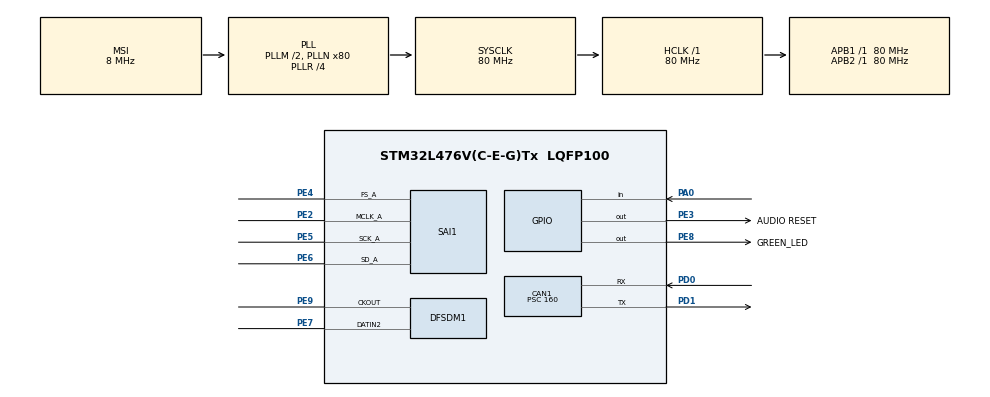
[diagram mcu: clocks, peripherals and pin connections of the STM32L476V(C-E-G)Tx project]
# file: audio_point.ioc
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CAN1.BS1=CAN_BS1_13TQ
CAN1.BS2=CAN_BS2_2TQ
CAN1.CalculateTimeQuantum=2000.0
CAN1.Mode=CAN_MODE_NORMAL
CAN1.Prescaler=160
DFSDM1.Divider=12
DFSDM1.DmaMode_reg_FIL0=ENABLE
DFSDM1.FastMode_reg_FIL0=ENABLE
DFSDM1.FilterOrder_CH2=DFSDM_CHANNEL_SINC3_ORDER
DFSDM1.Filter_regChannel_FIL0=DFSDM_CHANNEL_2
DFSDM1.Fosr_FIL0=64
DFSDM1.Iosr_FIL0=4
DFSDM1.RightBitShift_CH2=0x02
DFSDM1.Selection=DFSDM_CHANNEL_OUTPUT_CLOCK_AUDIO
DFSDM1.SincOrder_FIL0=DFSDM_FILTER_SINC3_ORDER
Dma.DFSDM1_FLT0.0.Direction=DMA_PERIPH_TO_MEMORY
Dma.DFSDM1_FLT0.0.Instance=DMA1_Channel4
Dma.DFSDM1_FLT0.0.MemDataAlignment=DMA_MDATAALIGN_WORD
Dma.DFSDM1_FLT0.0.MemInc=DMA_MINC_ENABLE
Dma.DFSDM1_FLT0.0.Mode=DMA_CIRCULAR
Dma.DFSDM1_FLT0.0.PeriphDataAlignment=DMA_PDATAALIGN_WORD
Dma.DFSDM1_FLT0.0.PeriphInc=DMA_PINC_DISABLE
Dma.DFSDM1_FLT0.0.Priority=DMA_PRIORITY_HIGH
Dma.Request0=DFSDM1_FLT0
Dma.Request1=SAI1_A
Dma.SAI1_A.1.Direction=DMA_MEMORY_TO_PERIPH
Dma.SAI1_A.1.Instance=DMA2_Channel1
Dma.SAI1_A.1.MemDataAlignment=DMA_MDATAALIGN_HALFWORD
Dma.SAI1_A.1.MemInc=DMA_MINC_ENABLE
Dma.SAI1_A.1.Mode=DMA_NORMAL
Dma.SAI1_A.1.PeriphDataAlignment=DMA_PDATAALIGN_HALFWORD
Dma.SAI1_A.1.PeriphInc=DMA_PINC_DISABLE
Dma.SAI1_A.1.Priority=DMA_PRIORITY_HIGH
Mcu.Family=STM32L4
Mcu.Name=STM32L476V(C-E-G)Tx
Mcu.Package=LQFP100
NVIC.CAN1_RX0_IRQn=true\:5\:0\:true\:false\:true\:true
NVIC.DMA1_Channel4_IRQn=true\:5\:0\:true\:false\:true\:false
NVIC.DMA2_Channel1_IRQn=true\:0\:0\:false\:false\:true\:false
NVIC.PriorityGroup=NVIC_PRIORITYGROUP_4
NVIC.TIM1_UP_TIM16_IRQn=true\:0\:0\:false\:false\:true\:true
PA0.Signal=GPIO_Input
PB6.Signal=I2C1_SCL
PB7.Signal=I2C1_SDA
PD0.GPIO_PuPd=GPIO_PULLUP
PD0.Mode=Master
PD0.Signal=CAN1_RX
PD1.Mode=Master
PD1.Signal=CAN1_TX
PE2.Mode=SAI_A_MasterWithClock
PE2.Signal=SAI1_MCLK_A
PE3.GPIO_Label=AUDIO RESET
PE3.Signal=GPIO_Output
PE4.Mode=SAI_A_MasterWithClock
PE4.Signal=SAI1_FS_A
PE5.Mode=SAI_A_MasterWithClock
PE5.Signal=SAI1_SCK_A
PE6.Mode=SAI_A_MasterWithClock
PE6.Signal=SAI1_SD_A
PE7.GPIO_PuPd=GPIO_PULLUP
PE7.GPIO_Speed=GPIO_SPEED_FREQ_VERY_HIGH
PE7.Signal=S_DATAIN2DFSDM1
PE8.GPIO_Label=GREEN_LED
PE8.Signal=GPIO_Output
PE9.GPIO_PuPd=GPIO_PULLUP
PE9.GPIO_Speed=GPIO_SPEED_FREQ_VERY_HIGH
PE9.Signal=S_CKOUTDFSDM1
PH0-OSC_IN\ (PH0).Mode=HSE-External-Oscillator
PH0-OSC_IN\ (PH0).Signal=RCC_OSC_IN
PH1-OSC_OUT\ (PH1).Mode=HSE-External-Oscillator
PH1-OSC_OUT\ (PH1).Signal=RCC_OSC_OUT
ProjectManager.HeapSize=0x200
ProjectManager.StackSize=0x400
ProjectManager.TargetToolchain=TrueSTUDIO
RCC.ADCFreq_Value=86000000
RCC.AHBFreq_Value=80000000
RCC.APB1Freq_Value=80000000
RCC.APB1TimFreq_Value=80000000
RCC.APB2Freq_Value=80000000
RCC.APB2TimFreq_Value=80000000
RCC.CortexFreq_Value=80000000
RCC.HCLKFreq_Value=80000000
RCC.HSE_VALUE=8000000
RCC.HSI_VALUE=16000000
RCC.LSE_VALUE=32768
RCC.MSIClockRange=RCC_MSIRANGE_7
RCC.MSI_VALUE=8000000
RCC.PLLM=2
RCC.PLLN=80
RCC.PLLR=RCC_PLLR_DIV4
RCC.PLLSAI1N=43
RCC.SYSCLKFreq_VALUE=80000000
RCC.SYSCLKSource=RCC_SYSCLKSOURCE_PLLCLK
RCC.USBFreq_Value=86000000
RCC.VCOOutputFreq_Value=320000000
SAI1.AudioFrequency-SAI_A_MasterWithClock=SAI_AUDIO_FREQUENCY_8K
SAI1.ErrorAudioFreq-SAI_A_MasterWithClock=-0.02 %
SAI1.FIFOThreshold-SAI_A_MasterWithClock=SAI_FIFOTHRESHOLD_1QF
SAI1.InitProtocol-SAI_A_MasterWithClock=Enable
SAI1.Instance-SAI_A_MasterWithClock=SAI$Index_Block_A
SAI1.MClockEnable-SAI_A_MasterWithClock=SAI_MASTERCLOCK_ENABLE
SAI1.OutputDrive-SAI_A_MasterWithClock=SAI_OUTPUTDRIVE_ENABLE
SAI1.RealAudioFreq-SAI_A_MasterWithClock=7.998 KHz
SAI1.Synchro-SAI_A_MasterWithClock=SAI_ASYNCHRONOUS
SAI1.VirtualMode-SAI_A_MasterWithClock=VM_MASTER
SAI1.VirtualProtocol-SAI_A_BASIC=VM_BASIC_PROTOCOL
SH.S_CKOUTDFSDM1.0=DFSDM1_CKOUT,PDM_SPI_input_from_ch2_and_internal_clock
SH.S_CKOUTDFSDM1.1=DFSDM1_CKOUT,CKOUT
SH.S_DATAIN2DFSDM1.0=DFSDM1_DATIN2,PDM_SPI_input_from_ch2_and_internal_clock
TIM1.ClockDivision=TIM_CLOCKDIVISION_DIV1
TIM1.Period=4000
TIM1.Prescaler=1
VP_SAI1_VP_$IpInstance_SAIA_SAI_BASIC.Mode=SAI_A_BASIC
VP_TIM1_VS_ClockSourceINT.Mode=Internal
board=custom

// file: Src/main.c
/* USER CODE BEGIN Header */
/**
  ******************************************************************************
  * @file           : main.c
  * @brief          : Main program body
  ******************************************************************************
  * This notice applies to any and all portions of this file
  * that are not between comment pairs USER CODE BEGIN and
  * USER CODE END. Other portions of this file, whether
  * inserted by the user or by software development tools
  * are owned by their respective copyright owners.
  *
  * Copyright (c) 2019 STMicroelectronics International N.V.
  * All rights reserved.
  *
  * Redistribution and use in source and binary forms, with or without
  * modification, are permitted, provided that the following conditions are met:
  *
  * 1. Redistribution of source code must retain the above copyright notice,
  *    this list of conditions and the following disclaimer.
  * 2. Redistributions in binary form must reproduce the above copyright notice,
  *    this list of conditions and the following disclaimer in the documentation
  *    and/or other materials provided with the distribution.
  * 3. Neither the name of STMicroelectronics nor the names of other
  *    contributors to this software may be used to endorse or promote products
  *    derived from this software without specific written permission.
  * 4. This software, including modifications and/or derivative works of this
  *    software, must execute solely and exclusively on microcontroller or
  *    microprocessor devices manufactured by or for STMicroelectronics.
  * 5. Redistribution and use of this software other than as permitted under
  *    this license is void and will automatically terminate your rights under
  *    this license.
  *
  * THIS SOFTWARE IS PROVIDED BY STMICROELECTRONICS AND CONTRIBUTORS "AS IS"
  * AND ANY EXPRESS, IMPLIED OR STATUTORY WARRANTIES, INCLUDING, BUT NOT
  * LIMITED TO, THE IMPLIED WARRANTIES OF MERCHANTABILITY, FITNESS FOR A
  * PARTICULAR PURPOSE AND NON-INFRINGEMENT OF THIRD PARTY INTELLECTUAL PROPERTY
  * RIGHTS ARE DISCLAIMED TO THE FULLEST EXTENT PERMITTED BY LAW. IN NO EVENT
  * SHALL STMICROELECTRONICS OR CONTRIBUTORS BE LIABLE FOR ANY DIRECT, INDIRECT,
  * INCIDENTAL, SPECIAL, EXEMPLARY, OR CONSEQUENTIAL DAMAGES (INCLUDING, BUT NOT
  * LIMITED TO, PROCUREMENT OF SUBSTITUTE GOODS OR SERVICES; LOSS OF USE, DATA,
  * OR PROFITS; OR BUSINESS INTERRUPTION) HOWEVER CAUSED AND ON ANY THEORY OF
  * LIABILITY, WHETHER IN CONTRACT, STRICT LIABILITY, OR TORT (INCLUDING
  * NEGLIGENCE OR OTHERWISE) ARISING IN ANY WAY OUT OF THE USE OF THIS SOFTWARE,
  * EVEN IF ADVISED OF THE POSSIBILITY OF SUCH DAMAGE.
  *
  ******************************************************************************
  */
/* USER CODE END Header */

#include "main.h"
#include "can.h"
#include "dfsdm.h"
#include "dma.h"
#include "sai.h"
#include "tim.h"
#include "gpio.h"

/* USER CODE BEGIN Includes */

#include "wav_example.h"
#include "cs43l22.h"
#include "stm32l476g_discovery.h"
#include "opus.h"

/* USER CODE END Includes */

/* USER CODE BEGIN PD */

#define FRAME_SIZE              160
#define SaturaLH(N, L, H) (((N)<(L))?(L):(((N)>(H))?(H):(N)))

/* USER CODE END PD */

/* USER CODE BEGIN PV */

uint32_t pause_cnt = 0;

unsigned char micr_gain = 70;

unsigned short device_id = 0x01;
unsigned short gate_id = 0xFE;
unsigned short point_to_point_tmr = 0x00;
unsigned char to_id = 0xFF;

//static unsigned long t = 0;

#define BUF_LENGTH	3

int32_t		RecBuf[2][FRAME_SIZE];
int16_t		micr_data[2][FRAME_SIZE];
int16_t		PlayBuf[BUF_LENGTH][FRAME_SIZE*2];
char microphone_encoded_data[2][256];
unsigned char encoded_micr_ready_buf_num = 0;
int8_t encoded_length = 0;
uint8_t can_pckt_length = 0;
int16_t	audio_stream[1024];
uint32_t	wav_pos = 0;
uint32_t frame_num = 0;
uint32_t cur_frame = 0;

uint32_t							DmaRecHalfBuffCplt  = 0;
uint32_t    						DmaRecBuffCplt      = 0;

extern DFSDM_Filter_HandleTypeDef 	hdfsdm1_filter0;
extern SAI_HandleTypeDef 			hsai_BlockA1;
AUDIO_DrvTypeDef					*audio_drv;

extern CAN_HandleTypeDef hcan1;
static CAN_TxHeaderTypeDef   TxHeader;
static uint32_t              TxMailbox=0;
static uint8_t               TxData[8];
static CAN_RxHeaderTypeDef   RxHeader;
static uint8_t               RxData[8];
static uint8_t				 can_frame[40];
static uint8_t				 can_frame_id[256][40];
static uint8_t				 frame_ready = 0;

static uint32_t i;
static uint16_t led_tmr=0;
static uint8_t buf_num = 0;
static int res = 0;

OpusDecoder *dec;
OpusEncoder *enc;

static int error = 0;

volatile unsigned short sys_tmr = 0;
unsigned long tmp=0;

/* USER CODE END PV */

void SystemClock_Config(void);

/* USER CODE BEGIN 0 */

static void delay_ms(unsigned short value) {
	sys_tmr=0;
	while(sys_tmr<(unsigned long)value*10) HAL_PWR_EnterSLEEPMode(PWR_MAINREGULATOR_ON, PWR_SLEEPENTRY_WFI);
}

static void play(void) {
	uint8_t buf_num = 0;
	if(frame_num>=1) {
		if(frame_num-cur_frame!=1) {
			cur_frame = frame_num-1;
		}
		buf_num = cur_frame%BUF_LENGTH;
		audio_drv->Play(AUDIO_I2C_ADDRESS, (uint16_t *) &PlayBuf[buf_num][0], FRAME_SIZE*2);
		HAL_SAI_Transmit_DMA(&hsai_BlockA1, (uint8_t *) &PlayBuf[buf_num][0], FRAME_SIZE*2);
		cur_frame++;
    }
}

static void initCANFilter() {
	CAN_FilterTypeDef  sFilterConfig;

	sFilterConfig.FilterBank = 0;
	sFilterConfig.FilterMode = CAN_FILTERMODE_IDMASK;
	sFilterConfig.FilterScale = CAN_FILTERSCALE_32BIT;
	sFilterConfig.FilterIdHigh = 0x0000;
	sFilterConfig.FilterIdLow = 0x0000;
	sFilterConfig.FilterMaskIdHigh = 0x0000;
	sFilterConfig.FilterMaskIdLow = 0x0000;
	sFilterConfig.FilterFIFOAssignment = CAN_RX_FIFO0;
	sFilterConfig.FilterActivation = ENABLE;
	sFilterConfig.SlaveStartFilterBank = 14;

	HAL_CAN_ConfigFilter(&hcan1, &sFilterConfig);
}

static void send_full_frame(uint8_t len, uint8_t *ptr) {
	uint8_t i=len;
	uint8_t cur_pckt = 1;
	uint8_t pckt_cnt = 0;

	while(i) {
		pckt_cnt++;
		if(i<=6) {i=0;}
		else i-=7;
	}
	i=1;

	while(len>0) {
		TxHeader.StdId = device_id;
		TxHeader.ExtId = 0;
		TxHeader.RTR = CAN_RTR_DATA;
		TxHeader.IDE = CAN_ID_STD;
		TxHeader.TransmitGlobalTime = DISABLE;
		if(len<=6) { // last packet
			TxHeader.DLC = 2+len;
			TxData[0] = (cur_pckt&0x0F)|((pckt_cnt&0x0F)<<4); // current packet number and packets cnt
			TxData[1] = to_id;
			for(i=0;i<len;i++) TxData[i+2] = ptr[(cur_pckt-1)*7+i];
			while(HAL_CAN_GetTxMailboxesFreeLevel(&hcan1) == 0) {delay_ms(1);}
			HAL_CAN_AddTxMessage(&hcan1, &TxHeader, TxData, &TxMailbox);
			cur_pckt++;
			len=0;
		}else {
			TxHeader.DLC = 0x08;
			TxData[0] = (cur_pckt&0x0F)|((pckt_cnt&0x0F)<<4); // current packet number and packets cnt
			for(i=0;i<7;i++) TxData[i+1] = ptr[(cur_pckt-1)*7+i];
			while(HAL_CAN_GetTxMailboxesFreeLevel(&hcan1) == 0) {delay_ms(1);}
			HAL_CAN_AddTxMessage(&hcan1, &TxHeader, TxData, &TxMailbox);
			cur_pckt++;
			len-=7;
		}
	}
	//HAL_GPIO_TogglePin(GREEN_LED_GPIO_Port,GREEN_LED_Pin);
}

static void encode_work() {
  if(DmaRecHalfBuffCplt == 1) {
	  for(i=0;i<FRAME_SIZE;i++) {micr_data[0][i] = SaturaLH((RecBuf[0][i] >>8), -32768, 32767);}//*(int32_t)micr_gain/100;}
	  /*for(i=0;i<FRAME_SIZE;i++) {
		  micr_data[0][i] = (int16_t)((uint16_t)wav_ex[wav_pos+1]<<8 | wav_ex[wav_pos])*(int32_t)micr_gain/100;
		  wav_pos+=2;if(wav_pos>=sizeof(wav_ex)) wav_pos=0;
	  }*/
	  //for(i=0;i<FRAME_SIZE;i++) {micr_data[0][i] = 0x01;}

	  //HAL_GPIO_WritePin(GREEN_LED_GPIO_Port,GREEN_LED_Pin,GPIO_PIN_SET);
	  encoded_length = opus_encode(enc, (opus_int16*)&micr_data[0][0], FRAME_SIZE,(unsigned char*) &microphone_encoded_data[0][0], 256);

	  //HAL_GPIO_WritePin(GREEN_LED_GPIO_Port,GREEN_LED_Pin,GPIO_PIN_RESET);
	  if(encoded_length>0) encoded_micr_ready_buf_num = 1;

	  DmaRecHalfBuffCplt  = 0;
  }
  if(DmaRecBuffCplt == 1)
  {
	  for(i=0;i<FRAME_SIZE;i++) {micr_data[1][i] = SaturaLH((RecBuf[1][i] >>8), -32768, 32767);}//*(int32_t)micr_gain/100;}
	  /*for(i=0;i<FRAME_SIZE;i++) {
		  micr_data[1][i] = (int16_t)((uint16_t)wav_ex[wav_pos+1]<<8 | wav_ex[wav_pos])*(int32_t)micr_gain/100;
		  wav_pos+=2;if(wav_pos>=sizeof(wav_ex)) wav_pos=0;
	  }*/
	  //for(i=0;i<FRAME_SIZE;i++) {micr_data[0][i] = 0x01;}
	  //HAL_GPIO_WritePin(GREEN_LED_GPIO_Port,GREEN_LED_Pin,GPIO_PIN_SET);
	  encoded_length = opus_encode(enc, (opus_int16*)&micr_data[1][0], FRAME_SIZE,(unsigned char*) &microphone_encoded_data[1][0], 256);
	  //HAL_GPIO_WritePin(GREEN_LED_GPIO_Port,GREEN_LED_Pin,GPIO_PIN_RESET);
	  if(encoded_length>0) encoded_micr_ready_buf_num = 2;

	  DmaRecBuffCplt  = 0;
  }
}

static void decode_work() {
  if(frame_ready) {
	  pause_cnt = 0;
	  frame_ready=0;
	  res = opus_decode(dec,(unsigned char*)&can_frame[0],can_pckt_length,&audio_stream[0],1024,0);
	  //if(res==160) HAL_GPIO_TogglePin(GREEN_LED_GPIO_Port,GREEN_LED_Pin);
	  buf_num = frame_num%BUF_LENGTH;

	  for(i=0;i<FRAME_SIZE;i++) {
		  if(HAL_GPIO_ReadPin(GPIOA, GPIO_PIN_0) == GPIO_PIN_SET || res<=0) {
			  PlayBuf[buf_num][2*(FRAME_SIZE-1-i)] = 0;
			  PlayBuf[buf_num][2*(FRAME_SIZE-1-i)+1] = 0;
		  }else {
			  PlayBuf[buf_num][2*(FRAME_SIZE-1-i)] = audio_stream[FRAME_SIZE-1-i];
			  PlayBuf[buf_num][2*(FRAME_SIZE-1-i)+1] = PlayBuf[buf_num][2*(FRAME_SIZE-1-i)];
		  }

	  }
	  frame_num++;
	  //HAL_GPIO_TogglePin(GREEN_LED_GPIO_Port,GREEN_LED_Pin);
  }else {
	  pause_cnt++;
	  if(pause_cnt>=30) {
		  pause_cnt = 0;
		  buf_num = frame_num%BUF_LENGTH;
		  for(i=0;i<FRAME_SIZE;i++) {
			  PlayBuf[buf_num][2*(FRAME_SIZE-1-i)] = 0;
			  PlayBuf[buf_num][2*(FRAME_SIZE-1-i)+1] = 0;
		  }
		  frame_num++;
	  }
  }
}

static void can_work() {
  static unsigned char button_state = 0;
  if(HAL_GPIO_ReadPin(GPIOA, GPIO_PIN_0)!=button_state) {
	  if(HAL_GPIO_ReadPin(GPIOA, GPIO_PIN_0) == GPIO_PIN_SET) HAL_CAN_DeactivateNotification(&hcan1, CAN_IT_RX_FIFO0_MSG_PENDING);
	  else HAL_CAN_ActivateNotification(&hcan1, CAN_IT_RX_FIFO0_MSG_PENDING);
  }
  if(encoded_micr_ready_buf_num) {
	  if(encoded_length>0) {
		  //HAL_GPIO_TogglePin(GREEN_LED_GPIO_Port,GREEN_LED_Pin);
		  /*can_pckt_length = encoded_length;
		  for(i=0;i<can_pckt_length;i++) can_frame[i] = microphone_encoded_data[encoded_micr_ready_buf_num-1][i];
		  frame_ready = 1;*/

	  }
	  if(HAL_GPIO_ReadPin(GPIOA, GPIO_PIN_0) == GPIO_PIN_SET) {
		  if(encoded_length>0) {
			  //HAL_GPIO_TogglePin(GREEN_LED_GPIO_Port,GREEN_LED_Pin);
			  send_full_frame(encoded_length,(unsigned char*)&microphone_encoded_data[encoded_micr_ready_buf_num-1]);
		  }
	  }
	  encoded_micr_ready_buf_num=0;
  }
  button_state = HAL_GPIO_ReadPin(GPIOA, GPIO_PIN_0);

  if(point_to_point_tmr) point_to_point_tmr--;
  else to_id = 0xFF; // send data to all
}

/* USER CODE END 0 */

int main(void)
{

  /* MCU Configuration--------------------------------------------------------*/

  /* Reset of all peripherals, Initializes the Flash interface and the Systick. */
  HAL_Init();

  /* Configure the system clock */
  SystemClock_Config();

  /* Initialize all configured peripherals */
  MX_GPIO_Init();
  MX_DMA_Init();
  MX_DFSDM1_Init();
  MX_SAI1_Init();
  MX_CAN1_Init();
  MX_TIM1_Init();
  /* USER CODE BEGIN 2 */

  enc = opus_encoder_create(8000, 1, OPUS_APPLICATION_VOIP , &error);
  opus_encoder_ctl(enc, OPUS_SET_COMPLEXITY(1));
  opus_encoder_ctl(enc, OPUS_SET_BITRATE(6000));
  dec = opus_decoder_create(8000,1,&error);

  HAL_TIM_Base_Start_IT(&htim1);

  if(CS43L22_ID != cs43l22_drv.ReadID(AUDIO_I2C_ADDRESS))  {Error_Handler();}
  audio_drv = &cs43l22_drv;
  audio_drv->Reset(AUDIO_I2C_ADDRESS);
  if(0 != audio_drv->Init(AUDIO_I2C_ADDRESS, OUTPUT_DEVICE_HEADPHONE, 90, AUDIO_FREQUENCY_8K)) { Error_Handler();}

  HAL_DFSDM_FilterRegularStart_DMA(&hdfsdm1_filter0, (int32_t*)&RecBuf[0][0], FRAME_SIZE*2);

  initCANFilter();
  HAL_CAN_Start(&hcan1);
  if (HAL_CAN_ActivateNotification(&hcan1, CAN_IT_RX_FIFO0_MSG_PENDING) != HAL_OK) {
      Error_Handler();
  }

  /* USER CODE END 2 */

  /* Infinite loop */
  /* USER CODE BEGIN WHILE */
  while (1)
  {
	  decode_work();
	  encode_work();
	  can_work();

	  delay_ms(1);
	  led_tmr++;
	  if(led_tmr>=500) {
		  led_tmr=0;
		  //HAL_GPIO_TogglePin(GREEN_LED_GPIO_Port,GREEN_LED_Pin);
	  }

    /* USER CODE END WHILE */

  }
}

void SystemClock_Config(void)
{
  RCC_OscInitTypeDef RCC_OscInitStruct = {0};
  RCC_ClkInitTypeDef RCC_ClkInitStruct = {0};
  RCC_PeriphCLKInitTypeDef PeriphClkInit = {0};

  /**Initializes the CPU, AHB and APB busses clocks
  */
  RCC_OscInitStruct.OscillatorType = RCC_OSCILLATORTYPE_MSI;
  RCC_OscInitStruct.MSIState = RCC_MSI_ON;
  RCC_OscInitStruct.MSICalibrationValue = 0;
  RCC_OscInitStruct.MSIClockRange = RCC_MSIRANGE_7;
  RCC_OscInitStruct.PLL.PLLState = RCC_PLL_ON;
  RCC_OscInitStruct.PLL.PLLSource = RCC_PLLSOURCE_MSI;
  RCC_OscInitStruct.PLL.PLLM = 2;
  RCC_OscInitStruct.PLL.PLLN = 80;
  RCC_OscInitStruct.PLL.PLLP = RCC_PLLP_DIV7;
  RCC_OscInitStruct.PLL.PLLQ = RCC_PLLQ_DIV2;
  RCC_OscInitStruct.PLL.PLLR = RCC_PLLR_DIV4;
  if (HAL_RCC_OscConfig(&RCC_OscInitStruct) != HAL_OK)
  {
    Error_Handler();
  }
  /**Initializes the CPU, AHB and APB busses clocks
  */
  RCC_ClkInitStruct.ClockType = RCC_CLOCKTYPE_HCLK|RCC_CLOCKTYPE_SYSCLK
                              |RCC_CLOCKTYPE_PCLK1|RCC_CLOCKTYPE_PCLK2;
  RCC_ClkInitStruct.SYSCLKSource = RCC_SYSCLKSOURCE_PLLCLK;
  RCC_ClkInitStruct.AHBCLKDivider = RCC_SYSCLK_DIV1;
  RCC_ClkInitStruct.APB1CLKDivider = RCC_HCLK_DIV1;
  RCC_ClkInitStruct.APB2CLKDivider = RCC_HCLK_DIV1;

  if (HAL_RCC_ClockConfig(&RCC_ClkInitStruct, FLASH_LATENCY_4) != HAL_OK)
  {
    Error_Handler();
  }
  PeriphClkInit.PeriphClockSelection = RCC_PERIPHCLK_SAI1|RCC_PERIPHCLK_DFSDM1;
  PeriphClkInit.Sai1ClockSelection = RCC_SAI1CLKSOURCE_PLLSAI1;
  PeriphClkInit.Dfsdm1ClockSelection = RCC_DFSDM1CLKSOURCE_PCLK;
  PeriphClkInit.PLLSAI1.PLLSAI1Source = RCC_PLLSOURCE_MSI;
  PeriphClkInit.PLLSAI1.PLLSAI1M = 2;
  PeriphClkInit.PLLSAI1.PLLSAI1N = 43;
  PeriphClkInit.PLLSAI1.PLLSAI1P = RCC_PLLP_DIV7;
  PeriphClkInit.PLLSAI1.PLLSAI1Q = RCC_PLLQ_DIV2;
  PeriphClkInit.PLLSAI1.PLLSAI1R = RCC_PLLR_DIV2;
  PeriphClkInit.PLLSAI1.PLLSAI1ClockOut = RCC_PLLSAI1_SAI1CLK;
  if (HAL_RCCEx_PeriphCLKConfig(&PeriphClkInit) != HAL_OK)
  {
    Error_Handler();
  }
  /**Configure the main internal regulator output voltage
  */
  if (HAL_PWREx_ControlVoltageScaling(PWR_REGULATOR_VOLTAGE_SCALE1) != HAL_OK)
  {
    Error_Handler();
  }
}

/* USER CODE BEGIN 4 */

void SysTick_Handler(void) {

}

void HAL_DFSDM_FilterRegConvHalfCpltCallback(DFSDM_Filter_HandleTypeDef *hdfsdm_filter)
{
  DmaRecHalfBuffCplt = 1;

  	  /*for(i=0;i<FRAME_SIZE;i++) {
  		  PlayBuf[frame_num%BUF_LENGTH][2*i] = (int16_t)((uint16_t)wav_ex[t+1]<<8 | wav_ex[t])*(int32_t)micr_gain/100;
  	  	  PlayBuf[frame_num%BUF_LENGTH][2*i+1] = PlayBuf[frame_num%BUF_LENGTH][2*i];
  	  	  t+=2;
  	  	  if(t>=sizeof(wav_ex)) t=0;
  	  }
  	  frame_num++;*/
  	  play();
}

void HAL_DFSDM_FilterRegConvCpltCallback(DFSDM_Filter_HandleTypeDef *hdfsdm_filter)
{
	/*for(i=0;i<FRAME_SIZE;i++) {
	  PlayBuf[frame_num%BUF_LENGTH][2*i] = (int16_t)((uint16_t)wav_ex[t+1]<<8 | wav_ex[t])*(int32_t)micr_gain/100;
	  PlayBuf[frame_num%BUF_LENGTH][2*i+1] = PlayBuf[frame_num%BUF_LENGTH][2*i];
	  t+=2;
	  if(t>=sizeof(wav_ex)) t=0;
  }
  frame_num++;*/
  play();
  DmaRecBuffCplt = 1;
}

void HAL_CAN_RxFifo0MsgPendingCallback(CAN_HandleTypeDef *hcan)
{
	static uint8_t i = 0;
	static uint8_t cur_num = 0;
	static uint8_t cnt = 0;
	if(HAL_CAN_GetRxFifoFillLevel(&hcan1, CAN_RX_FIFO0)) {

	  if(HAL_CAN_GetRxMessage(&hcan1, CAN_RX_FIFO0, &RxHeader, RxData) == HAL_OK) {

		  cur_num = RxData[0] & 0x0F;
		  cnt = RxData[0] >> 4;
		  if(cur_num==cnt && frame_ready==0) {
			  //HAL_GPIO_TogglePin(GREEN_LED_GPIO_Port,GREEN_LED_Pin);
			  if(RxData[1]==device_id) {
				  to_id = RxHeader.StdId;
				  point_to_point_tmr = 3000;
				  for(i=0;i<RxHeader.DLC-2;i++) can_frame_id[RxHeader.StdId][(cur_num-1)*7+i]=RxData[i+2];
				  can_pckt_length = (cnt-1)*7+RxHeader.DLC-2;
				  for(i=0;i<can_pckt_length;i++) can_frame[i]=can_frame_id[RxHeader.StdId][i];
				  frame_ready=1;
			  }else if(RxData[1]==0xFF) {
				  for(i=0;i<RxHeader.DLC-2;i++) can_frame_id[RxHeader.StdId][(cur_num-1)*7+i]=RxData[i+2];
				  can_pckt_length = (cnt-1)*7+RxHeader.DLC-2;
				  for(i=0;i<can_pckt_length;i++) can_frame[i]=can_frame_id[RxHeader.StdId][i];
				  to_id = 0xFF;
				  frame_ready=1;
			  }
		  }else {
			  for(i=0;i<7;i++) can_frame_id[RxHeader.StdId][(cur_num-1)*7+i]=RxData[i+1];
		  }
	  }
  }
}

/* USER CODE END 4 */

void Error_Handler(void)
{
}

/************************ (C) COPYRIGHT STMicroelectronics *****END OF FILE****/
